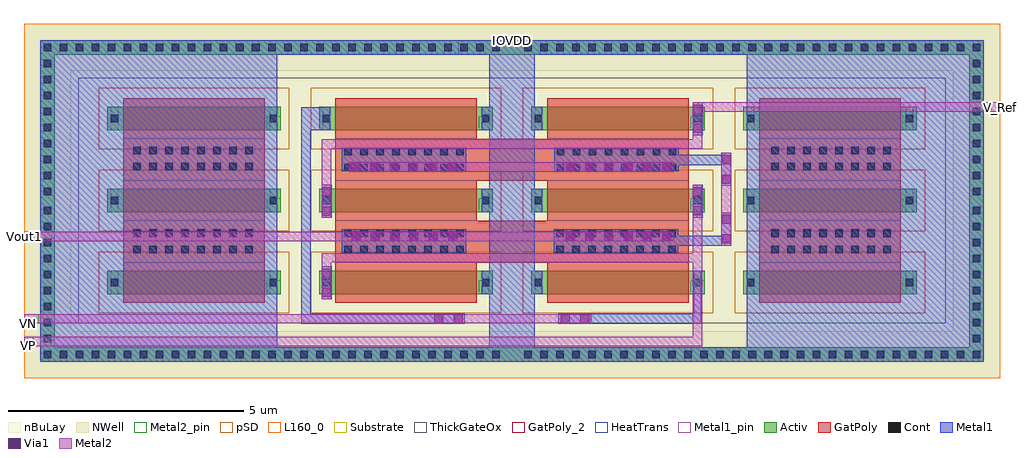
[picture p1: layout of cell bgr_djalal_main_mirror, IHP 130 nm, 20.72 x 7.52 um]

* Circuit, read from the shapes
.subckt bgr_djalal_main_mirror IOVDD VN VP V_Ref Vout1
XM1 IOVDD IOVDD IOVDD IOVDD sg13_hv_pmos w=0.5u l=3u m=6
XM2 IOVDD Vout1 VP IOVDD sg13_hv_pmos w=0.5u l=3u m=2
XM3 IOVDD Vout1 V_Ref IOVDD sg13_hv_pmos w=0.5u l=3u m=2
XM4 IOVDD Vout1 VN IOVDD sg13_hv_pmos w=0.5u l=3u m=2
.ends

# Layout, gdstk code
from math import pi, radians
import gdstk
lib = gdstk.Library(unit=1e-6, precision=1e-09)
def R(c, l, rs):  # rectangles x0, y0, x1, y1
    for r in rs: c.add(gdstk.rectangle(r[:2], r[2:], *l))
def A(c, l, x, y, w, h, nx, ny, dx, dy):  # array of equal rectangles
    R(c, l, [(x+i*dx, y+j*dy, x+i*dx+w, y+j*dy+h) for i in range(nx) for j in range(ny)])
def P(c, l, *ps):  # polygons
    for p in ps: c.add(gdstk.Polygon(p, *l))
Activ = (1, 0)
GatPoly = (5, 0)
GatPoly_2 = (5, 2)
Cont = (6, 0)
Metal1 = (8, 0)
Metal1_pin = (8, 2)
Metal2 = (10, 0)
Metal2_pin = (10, 2)
pSD = (14, 0)
Via1 = (19, 0)
NWell = (31, 0)
nBuLay = (32, 0)
Substrate = (40, 0)
ThickGateOx = (44, 0)
HeatTrans = (51, 0)
L160_0 = (160, 0)

pmoshv_3 = lib.new_cell('pmosHV$3')
R(pmoshv_3, Activ, [(0,0,0.3,0.3), (0,0,3.68,0.5), (3.38,0,3.68,0.3)])
R(pmoshv_3, GatPoly, [(0.34,-0.18,3.34,0.68)])
R(pmoshv_3, GatPoly_2, [(0.34,-0.18,3.34,0.68)])
R(pmoshv_3, Cont, [(0.07,0.17,0.23,0.33), (3.45,0.17,3.61,0.33)])
R(pmoshv_3, Metal1, [(0.07,0,0.23,0.5), (3.45,0,3.61,0.5)])
R(pmoshv_3, Metal1_pin, [(0.07,0,0.23,0.5), (3.45,0,3.61,0.5)])
R(pmoshv_3, pSD, [(-0.18,-0.4,3.86,0.9)])
R(pmoshv_3, NWell, [(-0.62,-0.62,4.3,1.12)])
R(pmoshv_3, Substrate, [(3.38,0,3.68,0.3)])
R(pmoshv_3, ThickGateOx, [(-0.62,-0.62,4.3,1.12)])
R(pmoshv_3, HeatTrans, [(0.34,-0.18,3.34,0.68)])
pmoshv_3.add(gdstk.Label('pmosHV', (1.84,0.25), layer=63, texttype=0))
pmoshv_3.add(gdstk.Label('pmos', (1.84,0.25), layer=51, texttype=0))

guard_ring_18 = lib.new_cell('guard_ring$18')
R(guard_ring_18, Activ, [(-10.01,-3.11,-9.71,3.11), (9.71,-3.11,10.01,3.11), (-10.01,3.11,10.01,3.41)])
P(guard_ring_18, Activ, [(-10.01,-3.41),(-10.01,3.11),(-9.71,3.11),(-9.71,-3.11),(9.71,-3.11),(9.71,3.11),(-10.01,3.11),(-10.01,3.41),(10.01,3.41),(10.01,-3.41)])
A(guard_ring_18, Cont, -9.94, -3.34, 0.16, 0.16, 29, 2, 0.34, 6.52)
A(guard_ring_18, Cont, 0.26, -3.34, 0.16, 0.16, 29, 2, 0.34, 6.52)
A(guard_ring_18, Cont, -9.94, -3, 0.16, 0.16, 1, 9, 0, 0.34)
A(guard_ring_18, Cont, 9.78, -3, 0.16, 0.16, 1, 9, 0, 0.34)
A(guard_ring_18, Cont, -9.94, 0.12, 0.16, 0.16, 1, 9, 0, 0.34)
A(guard_ring_18, Cont, 9.78, 0.12, 0.16, 0.16, 1, 9, 0, 0.34)
R(guard_ring_18, Metal1, [(-10.01,-3.41,10.01,-3.11), (-10.01,-3.11,-9.71,3.11), (9.71,-3.11,10.01,3.11), (-10.01,3.11,10.01,3.41)])
R(guard_ring_18, NWell, [(-10.36,-3.76,10.36,3.76)])
R(guard_ring_18, nBuLay, [(-10.36,-2.76,-9.36,2.76), (9.36,-2.76,10.36,2.76), (-10.36,2.76,10.36,3.76)])
P(guard_ring_18, nBuLay, [(-10.36,-3.76),(-10.36,2.76),(-9.36,2.76),(-9.36,-2.76),(9.36,-2.76),(9.36,2.76),(-10.36,2.76),(-10.36,3.76),(10.36,3.76),(10.36,-3.76)])
guard_ring_18.add(gdstk.Label('well', (0,-3.26), layer=63, texttype=0))

via_stack_22 = lib.new_cell('via_stack$22')
R(via_stack_22, Metal1, [(-0.105,-0.35,0.105,0.35)])
R(via_stack_22, Metal2, [(-0.1,-0.35,0.1,0.35)])
R(via_stack_22, Via1, [(-0.095,-0.3,0.095,-0.11), (-0.095,0.11,0.095,0.3)])

via_stack_6 = lib.new_cell('via_stack$6')
R(via_stack_6, Metal1, [(-0.35,-0.105,0.35,0.105)])
R(via_stack_6, Metal2, [(-0.35,-0.1,0.35,0.1)])
R(via_stack_6, Via1, [(-0.3,-0.095,-0.11,0.095), (0.11,-0.095,0.3,0.095)])

via_stack_44 = lib.new_cell('via_stack$44')
R(via_stack_44, GatPoly, [(-1.34,-0.32,1.34,0.32)])
A(via_stack_44, Cont, -1.27, -0.25, 0.16, 0.16, 8, 2, 0.34, 0.34)
R(via_stack_44, Metal1, [(-1.32,-0.25,1.32,0.25)])

via_stack_47 = lib.new_cell('via_stack$47')
R(via_stack_47, Metal1, [(-1.17,-0.105,1.17,0.105)])
R(via_stack_47, Metal2, [(-1.17,-0.1,1.17,0.1)])
A(via_stack_47, Via1, -1.12, -0.095, 0.19, 0.19, 6, 1, 0.41, 0)

bgr_djalal_main_mirror = lib.new_cell('bgr_djalal_main_mirror')
R(bgr_djalal_main_mirror, GatPoly, [(-3.75,-1.31,3.75,-0.42), (-8.25,-1.3,-5.25,-0.42), (5.25,-1.3,8.25,-0.42), (-3.75,0.43,3.75,1.32), (-8.25,0.44,-5.25,1.32), (5.25,0.44,8.25,1.32)])
R(bgr_djalal_main_mirror, Metal1, [(-10.01,-3.41,-4.98,3.41), (-0.48,-3.41,0.48,3.41), (4.98,-3.41,10.01,3.41), (-4.47,-2.61,-4.27,1.99), (-4.47,-2.61,-1.305,-2.39), (1.275,-2.61,4.02,-2.39), (3.86,-2.61,4.02,-1.785), (3.475,-0.95,4.655,-0.735), (3.485,0.755,4.655,0.985), (-4.47,1.5,-3.86,1.99)])
R(bgr_djalal_main_mirror, Metal1_pin, [(-1.145,3.11,1.375,3.41)])
R(bgr_djalal_main_mirror, Metal2, [(-10.36,-3.08,4.04,-2.88), (3.84,-3.08,4.04,-1.01), (-10.36,-2.6,-1.59,-2.4), (-1.375,-2.6,1.335,-2.4), (-4.035,-1.56,-3.835,-1.105), (-4.035,-1.305,4.04,-1.105), (3.84,-1.305,4.04,-0.155), (4.44,-0.95,4.655,0.985), (-10.36,-0.85,-3.22,-0.65), (-1.44,-0.85,1.905,-0.65), (-4.035,0.22,-3.835,1.31), (-1.44,0.625,1.905,0.825), (-4.035,1.11,4.04,1.31), (3.835,1.11,4.04,1.48), (3.95,1.895,10.36,2.095)])
R(bgr_djalal_main_mirror, Metal2_pin, [(-10.36,-3.08,-10.16,-2.88), (-10.36,-2.6,-10.05,-2.4), (-10.36,-0.85,-10.105,-0.65), (10.16,1.895,10.36,2.095)])
R(bgr_djalal_main_mirror, L160_0, [(-10.36,-3.76,10.36,3.76)])
r = gdstk.Reference(pmoshv_3, (-8.59,-1.98)); r.repetition = gdstk.Repetition(4, 3, v1=(4.5,0), v2=(0,1.74)); bgr_djalal_main_mirror.add(r)
bgr_djalal_main_mirror.add(gdstk.Reference(guard_ring_18, (0,0)))
bgr_djalal_main_mirror.add(gdstk.Reference(via_stack_22, (-3.935,-0.01)))
bgr_djalal_main_mirror.add(gdstk.Reference(via_stack_22, (3.94,1.745)))
bgr_djalal_main_mirror.add(gdstk.Reference(via_stack_22, (3.94,-0.005)))
bgr_djalal_main_mirror.add(gdstk.Reference(via_stack_22, (-3.935,-1.735)))
bgr_djalal_main_mirror.add(gdstk.Reference(via_stack_6, (-1.35,-2.5)))
bgr_djalal_main_mirror.add(gdstk.Reference(via_stack_6, (1.335,-2.5)))
bgr_djalal_main_mirror.add(gdstk.Reference(via_stack_44, (6.775,0.905)))
bgr_djalal_main_mirror.add(gdstk.Reference(via_stack_44, (6.775,-0.855)))
bgr_djalal_main_mirror.add(gdstk.Reference(via_stack_44, (-6.775,0.905), rotation=pi, x_reflection=True))
bgr_djalal_main_mirror.add(gdstk.Reference(via_stack_44, (-6.775,-0.855), rotation=pi, x_reflection=True))
bgr_djalal_main_mirror.add(gdstk.Reference(via_stack_44, (2.215,0.885)))
bgr_djalal_main_mirror.add(gdstk.Reference(via_stack_44, (-2.295,0.885)))
bgr_djalal_main_mirror.add(gdstk.Reference(via_stack_44, (-2.295,-0.855)))
bgr_djalal_main_mirror.add(gdstk.Reference(via_stack_44, (2.205,-0.855)))
bgr_djalal_main_mirror.add(gdstk.Reference(via_stack_22, (4.55,0.67)))
bgr_djalal_main_mirror.add(gdstk.Reference(via_stack_22, (4.55,-0.595)))
bgr_djalal_main_mirror.add(gdstk.Reference(via_stack_47, (-2.3,0.725)))
bgr_djalal_main_mirror.add(gdstk.Reference(via_stack_47, (2.26,0.725)))
bgr_djalal_main_mirror.add(gdstk.Reference(via_stack_47, (2.26,-0.75)))
bgr_djalal_main_mirror.add(gdstk.Reference(via_stack_47, (-2.285,-0.75)))
bgr_djalal_main_mirror.add(gdstk.Label('IOVDD', (0,3.41), layer=8, texttype=2))
bgr_djalal_main_mirror.add(gdstk.Label('VN', (-10.26,-2.6), layer=10, texttype=2))
bgr_djalal_main_mirror.add(gdstk.Label('VP', (-10.26,-3.075), layer=10, texttype=2))
bgr_djalal_main_mirror.add(gdstk.Label('V_Ref', (10.36,1.995), layer=10, texttype=2))
bgr_djalal_main_mirror.add(gdstk.Label('Vout1', (-10.36,-0.75), layer=10, texttype=2))

lib.write_gds('bgr_djalal_main_mirror.gds')
